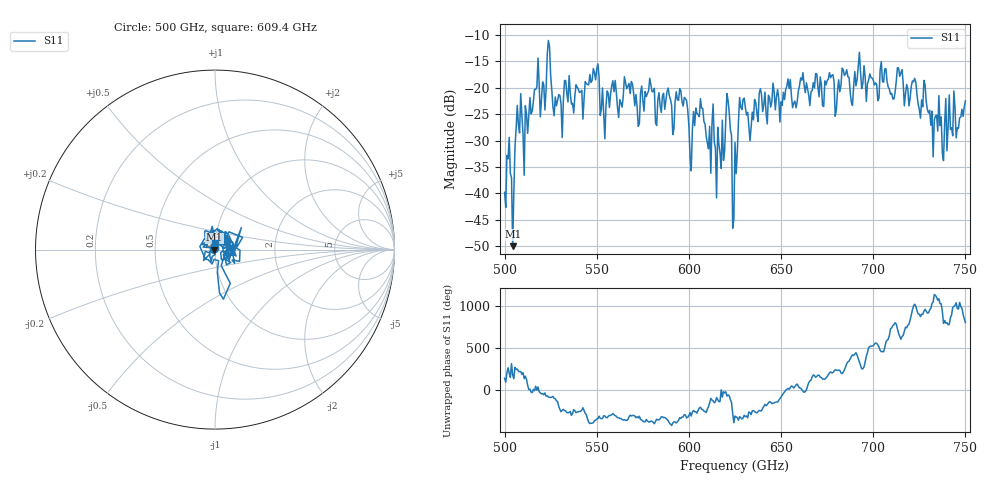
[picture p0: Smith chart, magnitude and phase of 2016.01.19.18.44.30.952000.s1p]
!Created with skrf (http://scikit-rf.org).
# GHz S RI R 50.0
!freq ReS11 ImS11
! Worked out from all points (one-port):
!   401 points, 500 GHz to 750 GHz, reference 50 ohm
!   lowest |S11| = -50.0 dB at 504.4 GHz (marker M1), VSWR 1.01, Z = 49.7 - j0.0118 ohm
!   |S11| at or under -10 dB: start of sweep to end of sweep
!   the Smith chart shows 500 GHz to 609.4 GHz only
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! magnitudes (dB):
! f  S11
! 500 GHz  -39.8
! 502.5 GHz  -29.4
! 504.4 GHz  -50.0
! 507.5 GHz  -27.0
! 511.2 GHz  -23.4
! 523.8 GHz  -11.1
! 526.9 GHz  -25.3
! 531.2 GHz  -29.4
! 549.4 GHz  -18.5
! 553.1 GHz  -20.1
! 558.8 GHz  -18.7
! 562.5 GHz  -22.3
! 566.2 GHz  -20.2
! 571.9 GHz  -23.6
! 593.8 GHz  -22.3
! 600.6 GHz  -33.2
! 606.2 GHz  -22.1
! 616.2 GHz  -30.7
! 621.2 GHz  -22.5
! 625 GHz  -30.4
! 628.8 GHz  -24.2
! 633.8 GHz  -27.5
! 656.2 GHz  -23.8
! 687.5 GHz  -20.9
! 714.4 GHz  -17.8
! 718.8 GHz  -20.2
! 738.8 GHz  -26.8
! 750 GHz  -22.5
